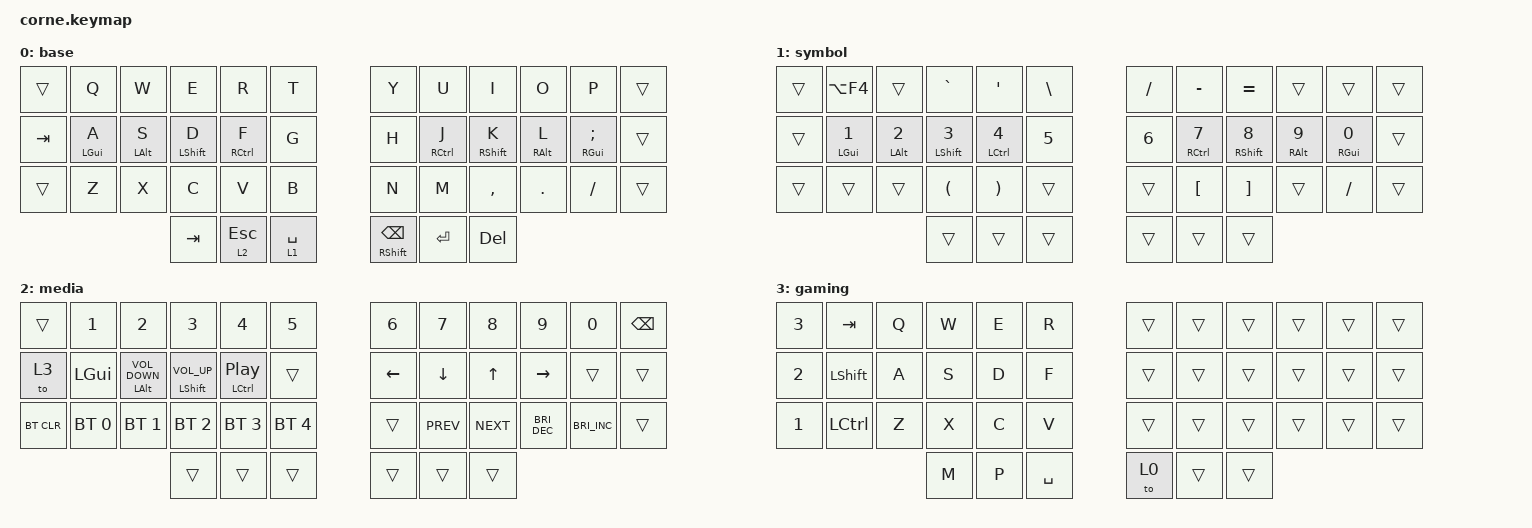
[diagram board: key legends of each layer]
/*
 * Copyright (c) 2020 The ZMK Contributors
 *
 * SPDX-License-Identifier: MIT
 */

#include <behaviors.dtsi>
#include <dt-bindings/zmk/bt.h>
#include <dt-bindings/zmk/keys.h>

/ {
    behaviors {
        hml: hml {
            compatible = "zmk,behavior-hold-tap";
            label = "HML";
            bindings = <&kp>, <&kp>;

            #binding-cells = <2>;
            tapping-term-ms = <280>;
            quick-tap-ms = <175>;
            require-prior-idle-ms = <150>;
            flavor = "balanced";
            hold-trigger-on-release;
            hold-trigger-key-positions = <6 7 8 9 10 11 18 19 20 21 22 23 30 31 32 33 34 35 39 40 41 37 38 36>;
        };

        hmr: hmr {
            compatible = "zmk,behavior-hold-tap";
            label = "HMR";
            bindings = <&kp>, <&kp>;

            #binding-cells = <2>;
            tapping-term-ms = <280>;
            quick-tap-ms = <175>;
            require-prior-idle-ms = <150>;
            flavor = "balanced";
            hold-trigger-key-positions = <0 1 2 4 5 12 13 14 15 16 17 24 25 26 27 28 29 36 37 38 3 39 40 41>;
            hold-trigger-on-release;
        };
    };

    combos {
        compatible = "zmk,combos";

        tab {
            bindings = <&kp TAB>;
            key-positions = <38 15 14>;
        };
    };

    keymap {
        compatible = "zmk,keymap";

        base {
            // -----------------------------------------------------------------------------------------
            // |  TAB |  Q  |  W  |  E  |  R  |  T  |   |  Y  |  U   |  I  |  O  |  P  | BSPC |
            // | CTRL |  A  |  S  |  D  |  F  |  G  |   |  H  |  J   |  K  |  L  |  ;  |  '   |
            // | SHFT |  Z  |  X  |  C  |  V  |  B  |   |  N  |  M   |  ,  |  .  |  /  | ESC  |
            //                    | GUI | LWR | SPC |   | ENT | RSE  | ALT |

            bindings = <
&trans   &kp Q            &kp W            &kp E              &kp R         &kp T          &kp Y                      &kp U         &kp I               &kp O             &kp P                &trans
&kp TAB  &hml LEFT_GUI A  &hml LEFT_ALT S  &hml LEFT_SHIFT D  &hml RCTRL F  &kp G          &kp H                      &hmr RCTRL J  &hmr RIGHT_SHIFT K  &hmr RIGHT_ALT L  &hmr RIGHT_GUI SEMI  &trans
&trans   &kp Z            &kp X            &kp C              &kp V         &kp B          &kp N                      &kp M         &kp COMMA           &kp DOT           &kp FSLH             &trans
                                           &kp TAB            &lt 2 ESC     &lt 1 SPACE    &mt RIGHT_SHIFT BACKSPACE  &kp ENTER     &kp DELETE
            >;
        };

        symbol {
            bindings = <
&trans  &kp LA(F4)              &trans                  &kp GRAVE                 &kp SINGLE_QUOTE       &kp BSLH    &kp SLASH     &kp MINUS      &kp EQUAL            &trans             &trans             &trans
&trans  &hml LEFT_GUI NUMBER_1  &hml LEFT_ALT NUMBER_2  &hml LEFT_SHIFT NUMBER_3  &hml LCTRL NUMBER_4    &kp N5      &kp NUMBER_6  &hmr RCTRL N7  &hmr RIGHT_SHIFT N8  &hmr RIGHT_ALT N9  &hmr RIGHT_GUI N0  &trans
&trans  &trans                  &trans                  &kp LEFT_PARENTHESIS      &kp RIGHT_PARENTHESIS  &trans      &trans        &kp LBKT       &kp RBKT             &trans             &kp SLASH          &trans
                                                        &trans                    &trans                 &trans      &trans        &trans         &trans
            >;
        };

        media {
            // -----------------------------------------------------------------------------------------
            // |  TAB |  1  |  2  |  3  |  4  |  5  |   |  6  |  7  |  8  |  9  |  0  | BSPC |
            // | BTCLR| BT1 | BT2 | BT3 | BT4 | BT5 |   | LFT | DWN |  UP | RGT |     |      |
            // | SHFT |     |     |     |     |     |   |     |     |     |     |     |      |
            //                    | GUI |     | SPC |   | ENT |     | ALT |

            bindings = <
&trans      &kp N1        &kp N2                       &kp N3                &kp N4           &kp N5          &kp N6    &kp N7      &kp N8      &kp N9                &kp N0                &kp BSPC
&to 3       &kp LEFT_GUI  &hml LEFT_ALT C_VOLUME_DOWN  &hml LSHIFT C_VOL_UP  &hml LCTRL C_PP  &trans          &kp LEFT  &kp DOWN    &kp UP      &kp RIGHT             &trans                &trans
&bt BT_CLR  &bt BT_SEL 0  &bt BT_SEL 1                 &bt BT_SEL 2          &bt BT_SEL 3     &bt BT_SEL 4    &trans    &kp C_PREV  &kp C_NEXT  &kp C_BRIGHTNESS_DEC  &kp C_BRIGHTNESS_INC  &trans
                                                       &trans                &trans           &trans          &trans    &trans      &trans
            >;
        };

        gaming {
            bindings = <
&kp N3  &kp TAB    &kp Q  &kp W  &kp E  &kp R        &trans  &trans  &trans  &trans  &trans  &trans
&kp N2  &kp LSHFT  &kp A  &kp S  &kp D  &kp F        &trans  &trans  &trans  &trans  &trans  &trans
&kp N1  &kp LCTRL  &kp Z  &kp X  &kp C  &kp V        &trans  &trans  &trans  &trans  &trans  &trans
                          &kp M  &kp P  &kp SPACE    &to 0   &trans  &trans
            >;
        };
    };
};
